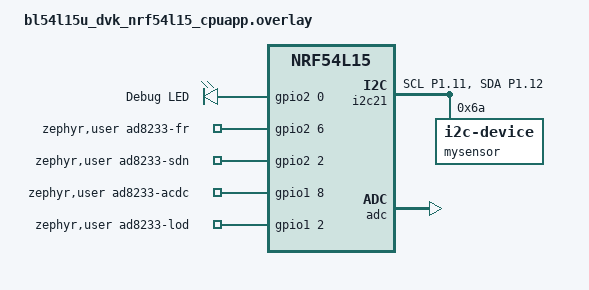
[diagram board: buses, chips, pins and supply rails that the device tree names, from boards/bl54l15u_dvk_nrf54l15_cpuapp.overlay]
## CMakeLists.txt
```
cmake_minimum_required(VERSION 3.20)
find_package(Zephyr REQUIRED HINTS $ENV{ZEPHYR_BASE})
project(oemga_portal2)
target_sources(app PRIVATE src/main.c src/i2c_driver.c src/lsm6dsox_reg.c)
```

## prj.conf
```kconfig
#
# Copyright (c) 2016 Intel Corporation
#
# SPDX-License-Identifier: Apache-2.0
#
# STEP 2 - Enable the I2C driver
CONFIG_I2C=y
CONFIG_NRFX_SAADC=y
CONFIG_NRFX_GPPI=y
CONFIG_NRFX_TIMER22=y
# STEP 4.2 - Enable floating point format specifiers
CONFIG_CBPRINTF_FP_SUPPORT=n
CONFIG_PM_DEVICE=y
CONFIG_GPIO=y
CONFIG_HWINFO=y
# Use the full C library for math functions
CONFIG_NEWLIB_LIBC=y

# Disable UART Console
CONFIG_UART_CONSOLE=n
CONFIG_SERIAL=n
CONFIG_LOG=y
# Enable RTT Console
CONFIG_USE_SEGGER_RTT=y
CONFIG_RTT_CONSOLE=y
CONFIG_CLOCK_CONTROL_NRF_K32SRC_RC=y
CONFIG_CLOCK_CONTROL_NRF_K32SRC_XTAL=n
# # Increase buffer size to handle big chunks of data
CONFIG_BT=y
CONFIG_BT_PERIPHERAL=y
CONFIG_BT_DEVICE_NAME="AD8233_EMG"
CONFIG_BT_CTLR_TX_PWR_MINUS_20=y
CONFIG_BT_PERIPHERAL_PREF_MIN_INT=12
CONFIG_BT_PERIPHERAL_PREF_MAX_INT=24

# Increase MTU to send ~244 bytes per packet (High Throughput)
CONFIG_BT_L2CAP_TX_MTU=247
CONFIG_BT_BUF_ACL_RX_SIZE=251
CONFIG_BT_BUF_ACL_TX_SIZE=251
CONFIG_BT_DATA_LEN_UPDATE=y

# Increase Stack Size for BLE threads
CONFIG_MAIN_STACK_SIZE=4096
CONFIG_SYSTEM_WORKQUEUE_STACK_SIZE=4096
CONFIG_CLOCK_CONTROL_NRF_CALIBRATION_PERIOD=8000

CONFIG_BT_NUS=y
CONFIG_SPEED_OPTIMIZATIONS=y
```

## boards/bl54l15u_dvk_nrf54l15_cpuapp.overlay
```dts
/*
 * OEMGA ALPHA BOARD OVERLAY
 * Target: bl54l15u_dvk_nrf54l15_cpuapp
 * * This file applies hardware changes specific to the OEMGA prototype
 * on top of the standard bl54l15u_dvk definition.
 */
&i2c21 {
    status = "okay";
    pinctrl-0 = <&i2c21_default>;
	pinctrl-1 = <&i2c21_sleep>;
    pinctrl-names = "default", "sleep";
    mysensor: mysensor@6a{
        compatible = "i2c-device";
        status = "okay";
        reg = < 0x6A >;
    };
};

&pinctrl {
	/omit-if-no-ref/ i2c21_default: i2c21_default {
		group1 {
			psels = <NRF_PSEL(TWIM_SCL, 1, 11)>,
				    <NRF_PSEL(TWIM_SDA, 1, 12)>;
		};
	};
    /omit-if-no-ref/ i2c21_sleep: i2c21_sleep {
		group1 {
			psels = <NRF_PSEL(TWIM_SCL, 1, 11)>,
				    <NRF_PSEL(TWIM_SDA, 1, 12)>;
		};
	};
};

/ {
    aliases {
        /* This allows us to call the led "my-led" in C code */
        my-led = &test_led;
    };

    leds {
        compatible = "gpio-leds";
        test_led: led_0 {
            /* Port 2, Pin 0 */
            gpios = <&gpio2 0 GPIO_ACTIVE_HIGH>; 
            label = "Debug LED";
        };
    };
};

/ {
    zephyr,user {
        /* Changed names to end in -gpios for compatibility */
        ad8233-fr-gpios   = <&gpio2 6 GPIO_ACTIVE_HIGH>;
        ad8233-sdn-gpios  = <&gpio2 2 GPIO_ACTIVE_HIGH>;
        ad8233-acdc-gpios = <&gpio1 8 GPIO_ACTIVE_HIGH>;
        ad8233-lod-gpios  = <&gpio1 2 (GPIO_PULL_UP | GPIO_ACTIVE_HIGH)>;
    };
};

&adc {
    status = "okay";
};
```

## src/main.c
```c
#include <zephyr/kernel.h>
#include <zephyr/device.h>
#include <zephyr/devicetree.h>
#include <zephyr/drivers/gpio.h>
#include <zephyr/logging/log.h>
#include <zephyr/bluetooth/bluetooth.h>
#include <zephyr/bluetooth/uuid.h>
#include <zephyr/bluetooth/gatt.h>
#include <bluetooth/services/nus.h>
#include <zephyr/drivers/i2c.h>
#include "i2c_driver.h" 
#include "headmotion.h" 

LOG_MODULE_REGISTER(Ble_MLC_Stream, LOG_LEVEL_INF);

#define I2C_NODE DT_NODELABEL(mysensor)

static const struct gpio_dt_spec sdn_pin = GPIO_DT_SPEC_GET(DT_PATH(zephyr_user), ad8233_sdn_gpios);
static const struct gpio_dt_spec led     = GPIO_DT_SPEC_GET(DT_ALIAS(my_led), gpios);

static volatile bool ble_connected = false;

/* ============================================================================
 * BLE SETUP
 * ============================================================================ */
static const struct bt_data ad[] = {
    BT_DATA_BYTES(BT_DATA_FLAGS, (BT_LE_AD_GENERAL | BT_LE_AD_NO_BREDR)),
    BT_DATA_BYTES(BT_DATA_UUID128_ALL, BT_UUID_NUS_VAL),
};

static void connected(struct bt_conn *conn, uint8_t err) {
    if (err) {
        LOG_ERR("Connection failed (err %u)", err);
    } else {
        LOG_INF("Connected!");
        ble_connected = true;
        gpio_pin_set_dt(&led, 0);
    }
}

static void disconnected(struct bt_conn *conn, uint8_t reason) {
    LOG_INF("Disconnected (reason %u)", reason);
    ble_connected = false;
    gpio_pin_set_dt(&led, 1);
}

BT_CONN_CB_DEFINE(conn_callbacks) = {
    .connected = connected,
    .disconnected = disconnected,
};

static struct bt_nus_cb nus_cb = {
    .received = NULL,
    .sent = NULL,
};

static void bt_ready(void) {
    int err = bt_enable(NULL);
    if (err) {
        LOG_ERR("Bluetooth init failed (err %d)", err);
        return;
    }
    bt_nus_init(&nus_cb);
    bt_le_adv_start(BT_LE_ADV_CONN_NAME, ad, ARRAY_SIZE(ad), NULL, 0);
    LOG_INF("Bluetooth initialized and advertising");
}


/* Main Example --------------------------------------------------------------*/
void lsm6dsox_mlc(stmdev_ctx_t *dev_ctx, const struct i2c_dt_spec *dev_i2c_ptr) 
{
  /* Variable declaration */
  lsm6dsox_pin_int1_route_t pin_int1_route;
  lsm6dsox_emb_sens_t emb_sens;
  uint8_t mlc_out[8];
  uint8_t whoamI, rst;
  uint32_t i;
  /* Initialize mems driver interface */
   dev_ctx->write_reg = platform_write;
    dev_ctx->read_reg = platform_read;
    dev_ctx->mdelay = NULL;
    dev_ctx->handle = (void *)dev_i2c_ptr;
  /* Wait sensor boot time */
  k_msleep(BOOT_TIME);
  /* Check device ID */
  lsm6dsox_device_id_get(dev_ctx, &whoamI);

  if (whoamI != LSM6DSOX_ID)
    while (1);

  /* Restore default configuration */
  lsm6dsox_reset_set(dev_ctx, PROPERTY_ENABLE);

  do {
    lsm6dsox_reset_get(dev_ctx, &rst);
  } while (rst);

  /* Start Machine Learning Core configuration */
  for ( i = 0; i < (sizeof(headmotionnew_conf_0) /
                    sizeof(struct mems_conf_op) ); i++ ) {
    lsm6dsox_write_reg(dev_ctx, headmotionnew_conf_0[i].address,
                       (uint8_t *)&headmotionnew_conf_0[i].data, 1);
  }

  /* End Machine Learning Core configuration */
  /* At this point the device is ready to run but if you need you can also
   * interact with the device but taking in account the MLC configuration.
   *
   * For more information about Machine Learning Core tool please refer
   * to AN5259 "LSM6DSOX: Machine Learning Core".
   */
  /* Turn off embedded features */
  lsm6dsox_embedded_sens_get(dev_ctx, &emb_sens);
  lsm6dsox_embedded_sens_off(dev_ctx);
  k_msleep(10);
  /* Turn off Sensors */
  lsm6dsox_xl_data_rate_set(dev_ctx, LSM6DSOX_XL_ODR_OFF);
  lsm6dsox_gy_data_rate_set(dev_ctx, LSM6DSOX_GY_ODR_OFF);
  /* Disable I3C interface */
  lsm6dsox_i3c_disable_set(dev_ctx, LSM6DSOX_I3C_DISABLE);
  /* Enable Block Data Update */
  lsm6dsox_block_data_update_set(dev_ctx, PROPERTY_ENABLE);
  /* Set full scale */
  lsm6dsox_xl_full_scale_set(dev_ctx, LSM6DSOX_4g);
  /* Route signals on interrupt pin 1 */
  lsm6dsox_pin_int1_route_get(dev_ctx, &pin_int1_route);
  pin_int1_route.mlc1 = PROPERTY_ENABLE;
  lsm6dsox_pin_int1_route_set(dev_ctx, pin_int1_route);
  /* Configure interrupt pin mode notification */
  lsm6dsox_int_notification_set(dev_ctx,
                                LSM6DSOX_BASE_PULSED_EMB_LATCHED);
  /* Enable embedded features */
  lsm6dsox_embedded_sens_set(dev_ctx, &emb_sens);
  /* Set Output Data Rate.
   * Selected data rate have to be equal or greater with respect
   * with MLC data rate.
   */
  lsm6dsox_xl_data_rate_set(dev_ctx, LSM6DSOX_XL_ODR_52Hz);

}

/* ============================================================================
 * MAIN
 * ============================================================================ */
int main(void) {
    if (gpio_is_ready_dt(&led)) {
        gpio_pin_configure_dt(&led, GPIO_OUTPUT_INACTIVE);
    }

    // Shut down the AD8233 
    if (gpio_is_ready_dt(&sdn_pin)) {
        gpio_pin_configure_dt(&sdn_pin, GPIO_OUTPUT_INACTIVE); 
    }

    static const struct i2c_dt_spec dev_i2c = I2C_DT_SPEC_GET(I2C_NODE);
    if(!device_is_ready(dev_i2c.bus)) {
        LOG_ERR("I2C bus %s is not ready!", dev_i2c.bus->name);
        return -1;
    }

    static stmdev_ctx_t dev_ctx;
    lsm6dsox_mlc(&dev_ctx, &dev_i2c);
    bt_ready();

    // Start last_gesture at an impossible value (99) so it forces a print on the very first loop
    uint8_t current_gesture = 99;

    LOG_INF("Waiting for BLE connection to stream gestures...");
    lsm6dsox_all_sources_t status;
   uint8_t last_gesture = 0;
    uint8_t mlc_out[8]; // Buffer for MLC output status registers

    LOG_INF("MLC Loop Started. Listening for head movements...");

    while (1) {
        /* 1. Check if the Machine Learning Core has a new result */
        lsm6dsox_all_sources_get(&dev_ctx, &status);

        if (status.mlc1) {
            /* 2. Get the specific output (Class 1, 2, 3, or 4) */
            lsm6dsox_mlc_out_get(&dev_ctx, mlc_out);
            uint8_t current_gesture = mlc_out[0];

            /* 3. Only act if the gesture has actually changed */
            if (current_gesture != last_gesture) {
                
                // Log to the local serial console
                switch(current_gesture) {
                    case 1: LOG_INF(">>> GESTURE: HEAD UP [0x01]"); break;
                    case 2: LOG_INF(">>> GESTURE: HEAD DOWN [0x02]"); break;
                    case 3: LOG_INF(">>> GESTURE: HEAD FORWARD [0x03]"); break;
                    case 4: LOG_INF(">>> STATE: IDLE [0x04]"); break;
                    default: LOG_WRN("Unknown MLC Code: %02X", current_gesture); break;
                }

                /* 4. Send the 1-byte gesture code via Bluetooth */
                if (ble_connected) {
                    int err = bt_nus_send(NULL, &current_gesture, 1);
                    if (err) {
                        LOG_WRN("BLE Send Failed (err %d)", err);
                    }
                }

                last_gesture = current_gesture;
            }
        }

        /* 5. Small sleep to prevent I2C bus congestion. 
           The MLC internal ODR is 52Hz, so 20ms polling is plenty. */
        k_msleep(20);
    }
    return 0;
}
```

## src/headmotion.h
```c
/**
  ******************************************************************************
  * @attention
  *
  * Copyright (c) 2026 STMicroelectronics.
  * All rights reserved.
  *
  * This software is licensed under terms that can be found in the LICENSE file
  * in the root directory of this software component.
  * If no LICENSE file comes with this software, it is provided AS-IS.
  *
  ******************************************************************************
  */

#ifndef HEADMOTIONNEW_H
#define HEADMOTIONNEW_H

#ifdef __cplusplus
extern "C" {
#endif

#include <stdint.h>

#define HEADMOTIONNEW_SENSORS_NUM 1

#ifndef MEMS_CONF_SHARED_TYPES
#define MEMS_CONF_SHARED_TYPES

#define MEMS_CONF_ARRAY_LEN(x) (sizeof(x) / sizeof(x[0]))

/*
 * MEMS_CONF_SHARED_TYPES format supports the following operations:
 * - MEMS_CONF_OP_TYPE_READ: read the register at the location specified
 *   by the "address" field ("data" field is ignored)
 * - MEMS_CONF_OP_TYPE_WRITE: write the value specified by the "data"
 *   field at the location specified by the "address" field
 * - MEMS_CONF_OP_TYPE_DELAY: wait the number of milliseconds specified by
 *   the "data" field ("address" field is ignored)
 * - MEMS_CONF_OP_TYPE_POLL_SET: poll the register at the location
 *   specified by the "address" field until all the bits identified by the mask
 *   specified by the "data" field are set to 1
 * - MEMS_CONF_OP_TYPE_POLL_RESET: poll the register at the location
 *   specified by the "address" field until all the bits identified by the mask
 *   specified by the "data" field are reset to 0
 */

struct mems_conf_name_list {
    const char *const *list;
    uint16_t len;
};

enum {
    MEMS_CONF_OP_TYPE_READ = 1,
    MEMS_CONF_OP_TYPE_WRITE = 2,
    MEMS_CONF_OP_TYPE_DELAY = 3,
    MEMS_CONF_OP_TYPE_POLL_SET = 4,
    MEMS_CONF_OP_TYPE_POLL_RESET = 5
};

struct mems_conf_op {
    uint8_t type;
    uint8_t address;
    uint8_t data;
};

struct mems_conf_op_list {
    const struct mems_conf_op *list;
    uint32_t len;
};

#endif /* MEMS_CONF_SHARED_TYPES */

#ifndef MEMS_CONF_METADATA_SHARED_TYPES
#define MEMS_CONF_METADATA_SHARED_TYPES

struct mems_conf_application {
    char *name;
    char *version;
};

struct mems_conf_result {
    uint8_t code;
    char *label;
};

enum {
    MEMS_CONF_OUTPUT_CORE_HW = 1,
    MEMS_CONF_OUTPUT_CORE_EMB = 2,
    MEMS_CONF_OUTPUT_CORE_FSM = 3,
    MEMS_CONF_OUTPUT_CORE_MLC = 4,
    MEMS_CONF_OUTPUT_CORE_ISPU = 5
};

enum {
    MEMS_CONF_OUTPUT_TYPE_UINT8_T = 1,
    MEMS_CONF_OUTPUT_TYPE_INT8_T = 2,
    MEMS_CONF_OUTPUT_TYPE_CHAR = 3,
    MEMS_CONF_OUTPUT_TYPE_UINT16_T = 4,
    MEMS_CONF_OUTPUT_TYPE_INT16_T = 5,
    MEMS_CONF_OUTPUT_TYPE_UINT32_T = 6,
    MEMS_CONF_OUTPUT_TYPE_INT32_T = 7,
    MEMS_CONF_OUTPUT_TYPE_UINT64_T = 8,
    MEMS_CONF_OUTPUT_TYPE_INT64_T = 9,
    MEMS_CONF_OUTPUT_TYPE_HALF = 10,
    MEMS_CONF_OUTPUT_TYPE_FLOAT = 11,
    MEMS_CONF_OUTPUT_TYPE_DOUBLE = 12
};

struct mems_conf_output {
    char *name;
    uint8_t core;
    uint8_t type;
    uint16_t len;
    uint8_t reg_addr;
    char *reg_name;
    uint8_t num_results;
    const struct mems_conf_result *results;
};

struct mems_conf_output_list {
    const struct mems_conf_output *list;
    uint16_t len;
};

struct mems_conf_mlc_identifier {
    uint8_t fifo_tag;
    uint16_t id;
    char *label;
};

struct mems_conf_mlc_identifier_list {
    const struct mems_conf_mlc_identifier *list;
    uint16_t len;
};

#endif /* MEMS_CONF_METADATA_SHARED_TYPES */

static const char *const headmotionnew_format_version = "2.0";

static const char *const headmotionnew_description = "Generated sensor configuration for MLC core";

static const struct mems_conf_application headmotionnew_application = {
    .name = "MLC Tool",
    .version = "2.4.4"
};

static const char *const headmotionnew_date = "2026-03-07 20:07:14";

/* Sensor names */

static const char *const headmotionnew_names_0[] = {
    "LSM6DSOX"
};

static const struct mems_conf_name_list headmotionnew_name_lists[HEADMOTIONNEW_SENSORS_NUM] = {
    { .list = headmotionnew_names_0, .len = (uint16_t)MEMS_CONF_ARRAY_LEN(headmotionnew_names_0) }
};

/* Configurations */

static const struct mems_conf_op headmotionnew_conf_0[] = {
    { .type = MEMS_CONF_OP_TYPE_WRITE, .address = 0x10, .data = 0x00 },
    { .type = MEMS_CONF_OP_TYPE_WRITE, .address = 0x11, .data = 0x00 },
    { .type = MEMS_CONF_OP_TYPE_WRITE, .address = 0x01, .data = 0x80 },
    { .type = MEMS_CONF_OP_TYPE_WRITE, .address = 0x04, .data = 0x00 },
    { .type = MEMS_CONF_OP_TYPE_WRITE, .address = 0x05, .data = 0x00 },
    { .type = MEMS_CONF_OP_TYPE_WRITE, .address = 0x17, .data = 0x40 },
    { .type = MEMS_CONF_OP_TYPE_WRITE, .address = 0x02, .data = 0x11 },
    { .type = MEMS_CONF_OP_TYPE_WRITE, .address = 0x08, .data = 0xE8 },
    { .type = MEMS_CONF_OP_TYPE_WRITE, .address = 0x09, .data = 0x24 },
    { .type = MEMS_CONF_OP_TYPE_WRITE, .address = 0x09, .data = 0x16 },
    { .type = MEMS_CONF_OP_TYPE_WRITE, .address = 0x02, .data = 0x11 },
    { .type = MEMS_CONF_OP_TYPE_WRITE, .address = 0x08, .data = 0xEA },
    { .type = MEMS_CONF_OP_TYPE_WRITE, .address = 0x09, .data = 0x4C },
    { .type = MEMS_CONF_OP_TYPE_WRITE, .address = 0x09, .data = 0x03 },
    { .type = MEMS_CONF_OP_TYPE_WRITE, .address = 0x09, .data = 0x56 },
    { .type = MEMS_CONF_OP_TYPE_WRITE, .address = 0x09, .data = 0x03 },
    { .type = MEMS_CONF_OP_TYPE_WRITE, .address = 0x09, .data = 0x00 },
    { .type = MEMS_CONF_OP_TYPE_WRITE, .address = 0x09, .data = 0x00 },
    { .type = MEMS_CONF_OP_TYPE_WRITE, .address = 0x09, .data = 0x0A },
    { .type = MEMS_CONF_OP_TYPE_WRITE, .address = 0x02, .data = 0x11 },
    { .type = MEMS_CONF_OP_TYPE_WRITE, .address = 0x08, .data = 0xF2 },
    { .type = MEMS_CONF_OP_TYPE_WRITE, .address = 0x09, .data = 0x55 },
    { .type = MEMS_CONF_OP_TYPE_WRITE, .address = 0x02, .data = 0x11 },
    { .type = MEMS_CONF_OP_TYPE_WRITE, .address = 0x08, .data = 0xFA },
    { .type = MEMS_CONF_OP_TYPE_WRITE, .address = 0x09, .data = 0x3C },
    { .type = MEMS_CONF_OP_TYPE_WRITE, .address = 0x09, .data = 0x03 },
    { .type = MEMS_CONF_OP_TYPE_WRITE, .address = 0x09, .data = 0x5C },
    { .type = MEMS_CONF_OP_TYPE_WRITE, .address = 0x09, .data = 0x03 },
    { .type = MEMS_CONF_OP_TYPE_WRITE, .address = 0x09, .data = 0x68 },
    { .type = MEMS_CONF_OP_TYPE_WRITE, .address = 0x09, .data = 0x03 },
    { .type = MEMS_CONF_OP_TYPE_WRITE, .address = 0x02, .data = 0x31 },
    { .type = MEMS_CONF_OP_TYPE_WRITE, .address = 0x08, .data = 0x3C },
    { .type = MEMS_CONF_OP_TYPE_WRITE, .address = 0x09, .data = 0x3F },
    { .type = MEMS_CONF_OP_TYPE_WRITE, .address = 0x09, .data = 0x00 },
    { .type = MEMS_CONF_OP_TYPE_WRITE, .address = 0x09, .data = 0x00 },
    { .type = MEMS_CONF_OP_TYPE_WRITE, .address = 0x09, .data = 0x08 },
    { .type = MEMS_CONF_OP_TYPE_WRITE, .address = 0x09, .data = 0x00 },
    { .type = MEMS_CONF_OP_TYPE_WRITE, .address = 0x09, .data = 0x00 },
    { .type = MEMS_CONF_OP_TYPE_WRITE, .address = 0x09, .data = 0x00 },
    { .type = MEMS_CONF_OP_TYPE_WRITE, .address = 0x09, .data = 0x04 },
    { .type = MEMS_CONF_OP_TYPE_WRITE, .address = 0x09, .data = 0x00 },
    { .type = MEMS_CONF_OP_TYPE_WRITE, .address = 0x09, .data = 0x00 },
    { .type = MEMS_CONF_OP_TYPE_WRITE, .address = 0x09, .data = 0x00 },
    { .type = MEMS_CONF_OP_TYPE_WRITE, .address = 0x09, .data = 0x0C },
    { .type = MEMS_CONF_OP_TYPE_WRITE, .address = 0x09, .data = 0x00 },
    { .type = MEMS_CONF_OP_TYPE_WRITE, .address = 0x09, .data = 0x00 },
    { .type = MEMS_CONF_OP_TYPE_WRITE, .address = 0x09, .data = 0x1F },
    { .type = MEMS_CONF_OP_TYPE_WRITE, .address = 0x09, .data = 0x00 },
    { .type = MEMS_CONF_OP_TYPE_WRITE, .address = 0x02, .data = 0x31 },
    { .type = MEMS_CONF_OP_TYPE_WRITE, .address = 0x08, .data = 0x5C },
    { .type = MEMS_CONF_OP_TYPE_WRITE, .address = 0x09, .data = 0x00 },
    { .type = MEMS_CONF_OP_TYPE_WRITE, .address = 0x09, .data = 0x00 },
    { .type = MEMS_CONF_OP_TYPE_WRITE, .address = 0x09, .data = 0x00 },
    { .type = MEMS_CONF_OP_TYPE_WRITE, .address = 0x09, .data = 0x00 },
    { .type = MEMS_CONF_OP_TYPE_WRITE, .address = 0x09, .data = 0x00 },
    { .type = MEMS_CONF_OP_TYPE_WRITE, .address = 0x09, .data = 0x00 },
    { .type = MEMS_CONF_OP_TYPE_WRITE, .address = 0x09, .data = 0x00 },
    { .type = MEMS_CONF_OP_TYPE_WRITE, .address = 0x09, .data = 0x00 },
    { .type = MEMS_CONF_OP_TYPE_WRITE, .address = 0x09, .data = 0x00 },
    { .type = MEMS_CONF_OP_TYPE_WRITE, .address = 0x09, .data = 0x00 },
    { .type = MEMS_CONF_OP_TYPE_WRITE, .address = 0x09, .data = 0x00 },
    { .type = MEMS_CONF_OP_TYPE_WRITE, .address = 0x01, .data = 0x00 },
    { .type = MEMS_CONF_OP_TYPE_WRITE, .address = 0x01, .data = 0x80 },
    { .type = MEMS_CONF_OP_TYPE_WRITE, .address = 0x17, .data = 0x40 },
    { .type = MEMS_CONF_OP_TYPE_WRITE, .address = 0x02, .data = 0x31 },
    { .type = MEMS_CONF_OP_TYPE_WRITE, .address = 0x08, .data = 0x68 },
    { .type = MEMS_CONF_OP_TYPE_WRITE, .address = 0x09, .data = 0x5D },
    { .type = MEMS_CONF_OP_TYPE_WRITE, .address = 0x09, .data = 0xB3 },
    { .type = MEMS_CONF_OP_TYPE_WRITE, .address = 0x09, .data = 0x12 },
    { .type = MEMS_CONF_OP_TYPE_WRITE, .address = 0x09, .data = 0xC0 },
    { .type = MEMS_CONF_OP_TYPE_WRITE, .address = 0x09, .data = 0x3E },
    { .type = MEMS_CONF_OP_TYPE_WRITE, .address = 0x09, .data = 0x3A },
    { .type = MEMS_CONF_OP_TYPE_WRITE, .address = 0x09, .data = 0x21 },
    { .type = MEMS_CONF_OP_TYPE_WRITE, .address = 0x09, .data = 0xC2 },
    { .type = MEMS_CONF_OP_TYPE_WRITE, .address = 0x09, .data = 0xD0 },
    { .type = MEMS_CONF_OP_TYPE_WRITE, .address = 0x09, .data = 0x20 },
    { .type = MEMS_CONF_OP_TYPE_WRITE, .address = 0x09, .data = 0x43 },
    { .type = MEMS_CONF_OP_TYPE_WRITE, .address = 0x09, .data = 0xE0 },
    { .type = MEMS_CONF_OP_TYPE_WRITE, .address = 0x01, .data = 0x80 },
    { .type = MEMS_CONF_OP_TYPE_WRITE, .address = 0x17, .data = 0x00 },
    { .type = MEMS_CONF_OP_TYPE_WRITE, .address = 0x04, .data = 0x00 },
    { .type = MEMS_CONF_OP_TYPE_WRITE, .address = 0x05, .data = 0x10 },
    { .type = MEMS_CONF_OP_TYPE_WRITE, .address = 0x02, .data = 0x01 },
    { .type = MEMS_CONF_OP_TYPE_WRITE, .address = 0x01, .data = 0x00 },
    { .type = MEMS_CONF_OP_TYPE_WRITE, .address = 0x5E, .data = 0x02 },
    { .type = MEMS_CONF_OP_TYPE_WRITE, .address = 0x01, .data = 0x80 },
    { .type = MEMS_CONF_OP_TYPE_WRITE, .address = 0x0D, .data = 0x01 },
    { .type = MEMS_CONF_OP_TYPE_WRITE, .address = 0x60, .data = 0x25 },
    { .type = MEMS_CONF_OP_TYPE_WRITE, .address = 0x01, .data = 0x00 },
    { .type = MEMS_CONF_OP_TYPE_WRITE, .address = 0x10, .data = 0x38 },
    { .type = MEMS_CONF_OP_TYPE_WRITE, .address = 0x11, .data = 0x02 }
};

static const struct mems_conf_op_list headmotionnew_confs[HEADMOTIONNEW_SENSORS_NUM] = {
    { .list = headmotionnew_conf_0, .len = (uint32_t)MEMS_CONF_ARRAY_LEN(headmotionnew_conf_0) }
};

/* Outputs */

static const struct mems_conf_result headmotionnew_results_0_0[] = {
    { .code = 0x01, .label = "headup" },
    { .code = 0x02, .label = "headdown" },
    { .code = 0x03, .label = "headforward" },
    { .code = 0x04, .label = "idle" }
};

static const struct mems_conf_output headmotionnew_outputs_0[] = {
    {
        .name = "Categorical output",
        .core = MEMS_CONF_OUTPUT_CORE_MLC,
        .type = MEMS_CONF_OUTPUT_TYPE_UINT8_T,
        .len = 1,
        .reg_addr = 0x70,
        .reg_name = "MLC0_SRC",
        .num_results = (uint8_t)MEMS_CONF_ARRAY_LEN(headmotionnew_results_0_0),
        .results = headmotionnew_results_0_0
    }
};

static const struct mems_conf_output_list headmotionnew_output_lists[HEADMOTIONNEW_SENSORS_NUM] = {
    { .list = headmotionnew_outputs_0, .len = (uint16_t)MEMS_CONF_ARRAY_LEN(headmotionnew_outputs_0) }
};

/* MLC identifiers */

static const struct mems_conf_mlc_identifier headmotionnew_mlc_identifiers_0[] = {
    { .fifo_tag = 0x1C, .id = 0x0356, .label = "F1_MEAN_ACC_Y" },
    { .fifo_tag = 0x1C, .id = 0x0358, .label = "F2_MEAN_ACC_X" },
    { .fifo_tag = 0x1C, .id = 0x035A, .label = "F3_MEAN_ACC_Z" }
};

static const struct mems_conf_mlc_identifier_list headmotionnew_mlc_identifier_lists[HEADMOTIONNEW_SENSORS_NUM] = {
    { .list = headmotionnew_mlc_identifiers_0, .len = (uint16_t)MEMS_CONF_ARRAY_LEN(headmotionnew_mlc_identifiers_0) }
};

#ifdef __cplusplus
}
#endif

#endif /* HEADMOTIONNEW_H */
```
